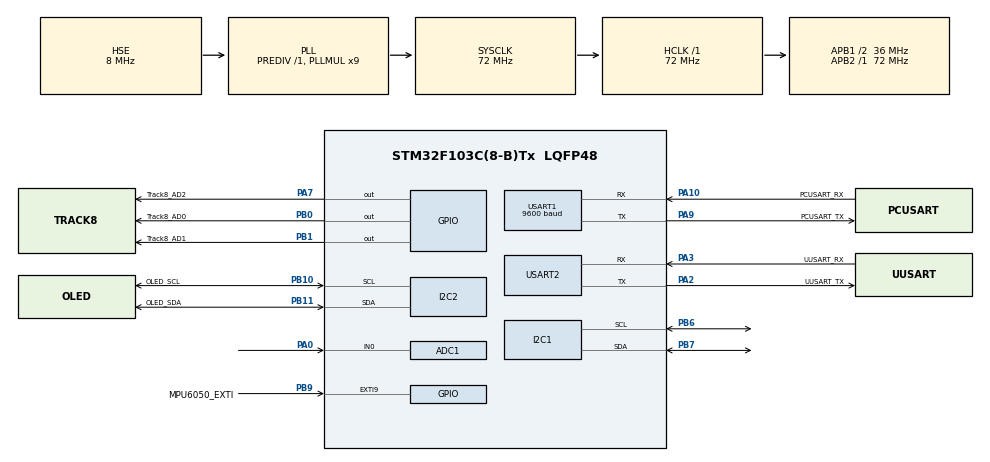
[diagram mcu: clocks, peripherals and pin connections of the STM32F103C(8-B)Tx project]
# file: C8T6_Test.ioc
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ADC1.Channel-0\#ChannelRegularConversion=ADC_CHANNEL_0
ADC1.NbrOfConversionFlag=1
ADC1.Rank-0\#ChannelRegularConversion=1
ADC1.SamplingTime-0\#ChannelRegularConversion=ADC_SAMPLETIME_1CYCLE_5
ADC1.master=1
Dma.Request0=USART2_RX
Dma.Request1=USART2_TX
Dma.USART2_RX.0.Direction=DMA_PERIPH_TO_MEMORY
Dma.USART2_RX.0.Instance=DMA1_Channel6
Dma.USART2_RX.0.MemDataAlignment=DMA_MDATAALIGN_BYTE
Dma.USART2_RX.0.MemInc=DMA_MINC_ENABLE
Dma.USART2_RX.0.Mode=DMA_NORMAL
Dma.USART2_RX.0.PeriphDataAlignment=DMA_PDATAALIGN_BYTE
Dma.USART2_RX.0.PeriphInc=DMA_PINC_DISABLE
Dma.USART2_RX.0.Priority=DMA_PRIORITY_MEDIUM
Dma.USART2_TX.1.Direction=DMA_MEMORY_TO_PERIPH
Dma.USART2_TX.1.Instance=DMA1_Channel7
Dma.USART2_TX.1.MemDataAlignment=DMA_MDATAALIGN_BYTE
Dma.USART2_TX.1.MemInc=DMA_MINC_ENABLE
Dma.USART2_TX.1.Mode=DMA_NORMAL
Dma.USART2_TX.1.PeriphDataAlignment=DMA_PDATAALIGN_BYTE
Dma.USART2_TX.1.PeriphInc=DMA_PINC_DISABLE
Dma.USART2_TX.1.Priority=DMA_PRIORITY_LOW
I2C1.I2C_Mode=I2C_Fast
Mcu.Family=STM32F1
Mcu.Name=STM32F103C(8-B)Tx
Mcu.Package=LQFP48
NVIC.DMA1_Channel6_IRQn=true\:0\:0\:false\:false\:true\:false\:true\:true
NVIC.DMA1_Channel7_IRQn=true\:0\:0\:false\:false\:true\:false\:true\:true
NVIC.EXTI9_5_IRQn=true\:0\:0\:false\:false\:true\:true\:true\:true
NVIC.I2C1_EV_IRQn=true\:0\:0\:false\:false\:true\:true\:true\:true
NVIC.PriorityGroup=NVIC_PRIORITYGROUP_4
NVIC.TIM2_IRQn=true\:0\:0\:false\:false\:true\:true\:true\:true
NVIC.USART1_IRQn=true\:0\:0\:false\:false\:true\:true\:true\:true
NVIC.USART2_IRQn=true\:0\:0\:false\:false\:true\:true\:true\:true
PA0-WKUP.Signal=ADCx_IN0
PA10.GPIO_Label=PCUSART_RX
PA10.Mode=Asynchronous
PA10.Signal=USART1_RX
PA13.Mode=Serial_Wire
PA13.Signal=SYS_JTMS-SWDIO
PA14.Mode=Serial_Wire
PA14.Signal=SYS_JTCK-SWCLK
PA2.GPIO_Label=UUSART_TX
PA2.Mode=Asynchronous
PA2.Signal=USART2_TX
PA3.GPIO_Label=UUSART_RX
PA3.Mode=Asynchronous
PA3.Signal=USART2_RX
PA7.GPIO_Label=Track8_AD2
PA7.GPIO_Speed=GPIO_SPEED_FREQ_HIGH
PA7.Signal=GPIO_Output
PA9.GPIO_Label=PCUSART_TX
PA9.Mode=Asynchronous
PA9.Signal=USART1_TX
PB0.GPIO_Label=Track8_AD0
PB0.GPIO_Speed=GPIO_SPEED_FREQ_HIGH
PB0.Signal=GPIO_Output
PB1.GPIO_Label=Track8_AD1
PB1.GPIO_Speed=GPIO_SPEED_FREQ_HIGH
PB1.Signal=GPIO_Output
PB10.GPIO_Label=OLED_SCL
PB10.Mode=I2C
PB10.Signal=I2C2_SCL
PB11.GPIO_Label=OLED_SDA
PB11.Mode=I2C
PB11.Signal=I2C2_SDA
PB6.GPIO_Speed=GPIO_SPEED_FREQ_HIGH
PB6.Mode=I2C
PB6.Signal=I2C1_SCL
PB7.GPIO_Speed=GPIO_SPEED_FREQ_HIGH
PB7.Mode=I2C
PB7.Signal=I2C1_SDA
PB9.GPIO_Label=MPU6050_EXTI
PB9.GPIO_ModeDefaultEXTI=GPIO_MODE_IT_RISING_FALLING
PB9.Signal=GPXTI9
PC14-OSC32_IN.Mode=LSE-External-Oscillator
PC14-OSC32_IN.Signal=RCC_OSC32_IN
PC15-OSC32_OUT.Mode=LSE-External-Oscillator
PC15-OSC32_OUT.Signal=RCC_OSC32_OUT
PD0-OSC_IN.Mode=HSE-External-Oscillator
PD0-OSC_IN.Signal=RCC_OSC_IN
PD1-OSC_OUT.Mode=HSE-External-Oscillator
PD1-OSC_OUT.Signal=RCC_OSC_OUT
ProjectManager.HeapSize=0x200
ProjectManager.StackSize=0x400
ProjectManager.TargetToolchain=CMake
RCC.ADCPresc=RCC_ADCPCLK2_DIV6
RCC.AHBFreq_Value=72000000
RCC.APB1CLKDivider=RCC_HCLK_DIV2
RCC.APB1Freq_Value=36000000
RCC.APB1TimFreq_Value=72000000
RCC.APB2Freq_Value=72000000
RCC.APB2TimFreq_Value=72000000
RCC.HCLKFreq_Value=72000000
RCC.PLLMUL=RCC_PLL_MUL9
RCC.PLLSourceVirtual=RCC_PLLSOURCE_HSE
RCC.SYSCLKFreq_VALUE=72000000
RCC.SYSCLKSource=RCC_SYSCLKSOURCE_PLLCLK
RCC.USBFreq_Value=72000000
SH.ADCx_IN0.0=ADC1_IN0,IN0
TIM2.Period=999
TIM2.Prescaler=71
USART1.BaudRate=9600
USART1.VirtualMode=VM_ASYNC
USART2.VirtualMode=VM_ASYNC
VP_TIM2_VS_ClockSourceINT.Mode=Internal
board=custom

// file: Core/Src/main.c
/* USER CODE BEGIN Header */
/**
 ******************************************************************************
 * @file           : main.c
 * @brief          : Main program body
 ******************************************************************************
 * @attention
 *
 * Copyright (c) 2025 STMicroelectronics.
 * All rights reserved.
 *
 * This software is licensed under terms that can be found in the LICENSE file
 * in the root directory of this software component.
 * If no LICENSE file comes with this software, it is provided AS-IS.
 *
 ******************************************************************************
 */
/* USER CODE END Header */
#include "main.h"
#include "adc.h"
#include "dma.h"
#include "i2c.h"
#include "tim.h"
#include "usart.h"
#include "gpio.h"

/* USER CODE BEGIN Includes */
#include "./Display/OLED/Oled.h"
#include "Eight_LineWalking.h"
#include "Four_LineWalking.h"
#include "Ganv_Grayscale_Sensor_Config.h"
#include "MDrv.h"
#include "MPU6050.h"
#include "motion_control.h"
#include "string.h"
/* USER CODE END Includes */

/* USER CODE BEGIN PTD */
volatile uint8_t mpu6050_data_ready_flag = 0; // 6050 数据就绪标志(中断)
volatile uint8_t tracking_data_ready_flag = 1; // =1 让其先触发一次
volatile uint8_t uart1_rec_data_ready_flag = 1; // 串口1接收数据就绪标志
char UsrtDataBuff[200]; // 用于接收串口的数据
No_MCU_Sensor track_sensor; // 创建一个传感器对象
MPU6050_Data_t MPU6050_Data; // 定义一个MPU6050数据结构体实例
int16_t tim2_tick = 0; // 定时器2滴答计数器
/* USER CODE END PTD */

/* USER CODE BEGIN PD */
#define Protection_Switch 0 // 1:防止SweetBaby		0:关闭 Protection 模块

#define Debug_Switch 0 // 1:开启 Debug 输出到串口 0:关闭 Debug 输出到串口 (Development Only)

#define Tracking4_Switch 0 // 1:开启 四路巡线 模块	0:关闭 LineWalking 模块
#define Tracking8_Switch 1 // 1:开启 八路巡线 模块	0:关闭 Tracking8 模块
#define MPU6050_Switch 0 // 1:开启 MPU6050 模块	0:关闭 MPU6050 模块
#define OLED_Switch 1 // 1:开启 OLED 模块		0:关闭 OLED 模块

#define Tracking4_Pin (GPIO_PIN_12 | GPIO_PIN_13 | GPIO_PIN_14 | GPIO_PIN_15)
/* USER CODE END PD */

/* USER CODE BEGIN PV */
// volatile 代表变量可能会被中断或其他线程修改，防止编译器优化

/* USER CODE END PV */

void SystemClock_Config(void);
/* USER CODE BEGIN PFP */
void OLED_Debug(uint8_t showtype);
void Uart_JudgeDataType(char *Udata);
void K230_ProcessData(char *Udata);
/* USER CODE END PFP */

/* USER CODE BEGIN 0 */

/**
 * @brief GPIO中断回调函数
 * @param GPIO_Pin: 触发中断的GPIO引脚
 * @retval None
 * @note 需要注意的是引脚对应的可能相同，!应该尽量避免中断引脚Pin相同!
 */
void HAL_GPIO_EXTI_Callback(uint16_t GPIO_Pin) {
	if (MPU6050_Switch && GPIO_Pin == MPU6050_EXTI_Pin) // PB9 – MPU INT
		mpu6050_data_ready_flag = 1;
	if (Tracking4_Switch && (GPIO_Pin & Tracking4_Pin))
		tracking_data_ready_flag = 1;
}

/**
 * @brief 定时器回调函数
 * @param htim: 定时器句柄
 * @retval None
 * @note 这里使用 TIM2 定时器作为系统滴答定时器 TIM2 定时器每 1ms 触发一次中断
 */
void HAL_TIM_PeriodElapsedCallback(TIM_HandleTypeDef *htim) {
	if (htim->Instance == TIM2) {
		// 假设速度 200mm/s = 20cm/s 经过黑线 2cm 0.1s通过 可触发10次中断
		tim2_tick++; // 增加定时器滴答计数
		if (tim2_tick == 10) {
			// 每10ms触发一次
			Task_tick(&track_sensor);
			tim2_tick = 0; // 重置滴答计数
			tracking_data_ready_flag = 1; // 设置巡线数据就绪标志
		}
	}
}

/**
 * @brief UART接收完成回调函数
 * @param huart: UART句柄
 * @retval None
 * @note 空闲中断+DMA 这里不要听信代码建议加 const
 */
void HAL_UARTEx_RxEventCallback(UART_HandleTypeDef *huart, uint16_t Size) {
	// 这个回调函数会在接收到数据时被调用
	if (huart->Instance == PCUMUART_Cfg.Instance) {
		UsrtDataBuff[Size - 1] = '\0'; // 确保字符串结束
		uart1_rec_data_ready_flag = 1;
		// Uart_JudgeDataType(UsrtDataBuff); // [Debug 删除调速函数]处理接收到的数据
		HAL_UARTEx_ReceiveToIdle_DMA(&PCUMUART_Cfg, UsrtDataBuff, 200); // 继续接收字节
	}
}

void Uart_JudgeDataType(char *Udata) {
	if (Debug_Switch)
		HAL_UART_Transmit(&Bluetooth_Cfg, (uint8_t *) Udata, strlen(Udata), Uart_MaxWait);
	if (strncmp(Udata, "$", 1) == 0) {
		if (strncmp(Udata, "$K230:", 6) == 0) {
			K230_ProcessData(Udata + 6);
		} else if (strncmp(Udata, "$MAll:", 6) == 0) {
			MDrv_ProcessMALL(Udata + 6);
		} else if (strncmp(Udata, "$MTEP:", 6) == 0) {
			MDrv_ProcessMTEP(Udata + 6);
		} else if (strncmp(Udata, "$MSPD:", 6) == 0) {
			MDrv_ProcessMSPD(Udata + 6);
		} else if (strncmp(Udata, "$Battery:", 9) == 0) {
			MDrv_ProcessVol(Udata + 9);
		}
	}
}

// K230 数据处理函数
void K230_ProcessData(char *Udata) {
	char cmd_type[20];
	char result[20];
	float score;

	// 使用 sscanf 解析指令
	if (sscanf(Udata, "%19[^,],%19[^,],%f#", cmd_type, result, &score) == 3) {
		// 根据 cmd_type 进行不同操作
		if (strcmp(cmd_type, "car") == 0) {
			if (strcmp(result, "F") == 0)
				Motion_Forward(150); // 处理前进命令 假设前进速度为 100
			else if (strcmp(result, "B") == 0)
				Motion_Backward(150); // 处理后退命令 假设后退速度为 100
			else if (strcmp(result, "L") == 0)
				Motion_Spin(-150); // 处理左转命令 假设左转速度为 100
			else if (strcmp(result, "R") == 0)
				Motion_Spin(150); // 处理右转命令 假设右
			else if (strcmp(result, "S") == 0)
				Motion_Stop_WithoutPID();
			else if (strcmp(result, "SP") == 0)
				Motion_Stop_WithPID();
		}
	}
}

void OLED_Debug(uint8_t showtype) {
	if (showtype == 0) {
		if (MPU6050_Switch)
			OLED_ShowString(1, 1, "6050", 8);
		OLED_ShowString(45, 1, "SPD", 8);
		OLED_ShowString(115, 7, "V", 8);
		if (Tracking8_Switch)
			OLED_ShowString(1, 6, "LineWalk", 8);
	} else if (showtype == 1) {
		if (MPU6050_Switch)
			OLED_ShowFloat(1, 2, MPU6050_Data.YawAngle, 3, 2, 8);
		// 显示速度调试
		OLED_ShowFloat(45, 2, Mdrv_Readspeed(0), 3, 1, 8);
		OLED_ShowFloat(45, 3, Mdrv_Readspeed(1), 3, 1, 8);
		OLED_ShowFloat(45, 4, Mdrv_Readspeed(2), 3, 1, 8);
		OLED_ShowFloat(45, 5, Mdrv_Readspeed(3), 3, 1, 8);
		// 显示驱动板电池电压
		OLED_ShowFloat(80, 7, Voltage, 1, 2, 8);
		// 显示 LineWalking 数据
		if (Tracking8_Switch) {
			OLED_ShowNum(1, 7, (track_sensor.Digtal >> 0) & 0x01, 1, 8);
			OLED_ShowNum(11, 7, (track_sensor.Digtal >> 1) & 0x01, 1, 8);
			OLED_ShowNum(21, 7, (track_sensor.Digtal >> 2) & 0x01, 1, 8);
			OLED_ShowNum(31, 7, (track_sensor.Digtal >> 3) & 0x01, 1, 8);
			OLED_ShowNum(41, 7, (track_sensor.Digtal >> 4) & 0x01, 1, 8);
			OLED_ShowNum(51, 7, (track_sensor.Digtal >> 5) & 0x01, 1, 8);
			OLED_ShowNum(61, 7, (track_sensor.Digtal >> 6) & 0x01, 1, 8);
			OLED_ShowNum(71, 7, (track_sensor.Digtal >> 7) & 0x01, 1, 8);
		}
	}
}

/* USER CODE END 0 */

int main(void)
{

  /* MCU Configuration--------------------------------------------------------*/

  /* Reset of all peripherals, Initializes the Flash interface and the Systick. */
  HAL_Init();

  /* Configure the system clock */
  SystemClock_Config();

  /* Initialize all configured peripherals */
  MX_GPIO_Init();
  MX_DMA_Init();
  MX_USART1_UART_Init();
  MX_USART2_UART_Init();
  MX_I2C1_Init();
  MX_I2C2_Init();
  MX_ADC1_Init();
  MX_TIM2_Init();
  /* USER CODE BEGIN 2 */
	if (Protection_Switch)
		while (1) {
		}

	No_MCU_Ganv_Sensor_Init(&track_sensor); // 初始化八路循迹传感器
	HAL_TIM_Base_Start_IT(&htim2); // 启动定时器2中断

	MDrv_Init(0); // 初始化驱动板

	// 使用HAL库自带的HAL_UARTEx_ReceiveToIdle_DMA()函数
	// 当DMA触发了半满中断或全满中断时，同样是会进入函数到HAL_DMA_IRQHandler()的 ，区别在于调用的回调函数不同了。以半满中断为例：
	HAL_UARTEx_ReceiveToIdle_DMA(&PCUMUART_Cfg, UsrtDataBuff, 500); // 启动DMA接收，若有串口数据传送需在该函数后

	HAL_Delay(250);
	MDrv_RequestVol(); // 发送获取电池电压指令
	HAL_Delay(400);
	MDrv_UploadData(0, 0, 1); // 获取电机编码器数据
	HAL_Delay(500);

	LineWalking_Init(); // 初始化 PID 控制器

	if (OLED_Switch)
		OLED_Init(&hi2c2);

	if (MPU6050_Switch && !MPU6050_Init(&hi2c1)) {
		// 初始化MPU6050
		HAL_Delay(750); // 延时等待稳定
		OLED_ShowString(1, 1, "MPU6050 Init....", 8); // OLED 显示 MPU6050 初始化信息
		MPU6050_Calibrate_Gyro(); // 校准陀螺仪偏置 不可转动
	} else {
		// OLED_ShowString(1, 2, "MPU6050 Err or OFF!", 8); // 6050错误信息提示
		// HAL_Delay(1500);
	}

	if (OLED_Switch) {
		OLED_Clear();
		OLED_Debug(0); // OLED 显示 LineWalking 模块标题[Debug]
	}

  /* USER CODE END 2 */

  /* Infinite loop */
  /* USER CODE BEGIN WHILE */
	while (1) {
		OLED_Debug(1); // OLED 显示 Debug 数据
		if (MPU6050_Switch) {
			if (mpu6050_data_ready_flag) {
				mpu6050_data_ready_flag = 0;
				MPU6050_Get_Angle_yaw(&MPU6050_Data); // 获取陀螺仪数据
			}
		}

		if (uart1_rec_data_ready_flag) {
			uart1_rec_data_ready_flag = 0;
			Uart_JudgeDataType(UsrtDataBuff); // 处理接收到的数据
		}

		if (tracking_data_ready_flag) {
			tracking_data_ready_flag = 0;
			if (Tracking4_Switch) // 如果打开四路循迹
				LineWalking(150);
			if (Tracking8_Switch) {
				// 如果打开八路循迹
				No_Mcu_Ganv_Sensor_Task_With_tick(&track_sensor); // 传感器任务处理
				LineWalking8_Track(track_sensor.Digtal, 150);
			}
		}
	}
    /* USER CODE END WHILE */

}

void SystemClock_Config(void)
{
  RCC_OscInitTypeDef RCC_OscInitStruct = {0};
  RCC_ClkInitTypeDef RCC_ClkInitStruct = {0};
  RCC_PeriphCLKInitTypeDef PeriphClkInit = {0};

  /** Initializes the RCC Oscillators according to the specified parameters
  * in the RCC_OscInitTypeDef structure.
  */
  RCC_OscInitStruct.OscillatorType = RCC_OSCILLATORTYPE_HSE;
  RCC_OscInitStruct.HSEState = RCC_HSE_ON;
  RCC_OscInitStruct.HSEPredivValue = RCC_HSE_PREDIV_DIV1;
  RCC_OscInitStruct.HSIState = RCC_HSI_ON;
  RCC_OscInitStruct.PLL.PLLState = RCC_PLL_ON;
  RCC_OscInitStruct.PLL.PLLSource = RCC_PLLSOURCE_HSE;
  RCC_OscInitStruct.PLL.PLLMUL = RCC_PLL_MUL9;
  if (HAL_RCC_OscConfig(&RCC_OscInitStruct) != HAL_OK)
  {
    Error_Handler();
  }

  /** Initializes the CPU, AHB and APB buses clocks
  */
  RCC_ClkInitStruct.ClockType = RCC_CLOCKTYPE_HCLK|RCC_CLOCKTYPE_SYSCLK
                              |RCC_CLOCKTYPE_PCLK1|RCC_CLOCKTYPE_PCLK2;
  RCC_ClkInitStruct.SYSCLKSource = RCC_SYSCLKSOURCE_PLLCLK;
  RCC_ClkInitStruct.AHBCLKDivider = RCC_SYSCLK_DIV1;
  RCC_ClkInitStruct.APB1CLKDivider = RCC_HCLK_DIV2;
  RCC_ClkInitStruct.APB2CLKDivider = RCC_HCLK_DIV1;

  if (HAL_RCC_ClockConfig(&RCC_ClkInitStruct, FLASH_LATENCY_2) != HAL_OK)
  {
    Error_Handler();
  }
  PeriphClkInit.PeriphClockSelection = RCC_PERIPHCLK_ADC;
  PeriphClkInit.AdcClockSelection = RCC_ADCPCLK2_DIV6;
  if (HAL_RCCEx_PeriphCLKConfig(&PeriphClkInit) != HAL_OK)
  {
    Error_Handler();
  }
}

void Error_Handler(void)
{
	__disable_irq();
	while (1) {
	}
}
